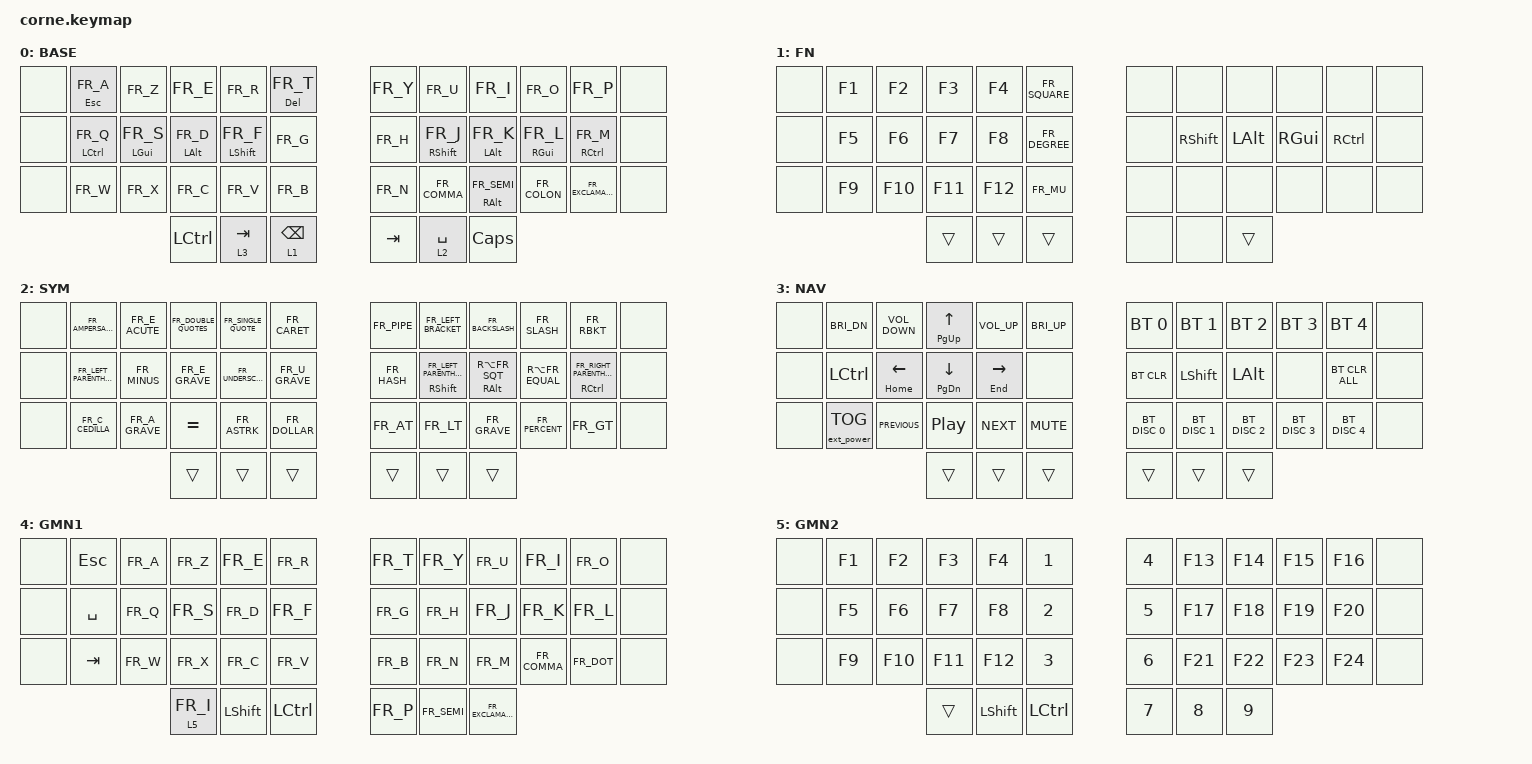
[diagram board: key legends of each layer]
/*
 * Copyright (c) 2020 The ZMK Contributors
 *
 * SPDX-License-Identifier: MIT
 */

#include "keys_fr.h"
#include <behaviors.dtsi>
#include <dt-bindings/zmk/bt.h>
#include <dt-bindings/zmk/ext_power.h>
#include <dt-bindings/zmk/keys.h>

&mt { flavor = "tap-preferred"; };

/ {
    combos {
        compatible = "zmk,combos";

        Entrer {
            bindings = <&kp ENTER>;
            key-positions = <38 39>;
        };

        Entrer2 {
            bindings = <&kp ENTER>;
            key-positions = <16 38>;
        };

        Gaming_Layer {
            bindings = <&tog 4>;
            key-positions = <38 37 36>;
        };

        Espace {
            bindings = <&kp FR_SPACE>;
            key-positions = <38 13>;
        };

        EP_Toggle {
            bindings = <&ext_power EP_TOG>;
            key-positions = <41 40 39>;
        };

        Soft_Off_L {
            bindings = <&soft_off>;
            key-positions = <25 26 27 28>;
        };

        reset_r {
            bindings = <&sys_reset>;
            key-positions = <9 10 8 7>;
        };

        reset {
            bindings = <&sys_reset>;
            key-positions = <1 2 3 4>;
        };

        Soft_off_R {
            bindings = <&soft_off>;
            key-positions = <31 32 33 34>;
        };

        ctrl+Win {
            bindings = <&kp LC(LEFT_WIN)>;
            key-positions = <4 2>;
        };
    };

    behaviors {
        bhm: bhm {
            compatible = "zmk,behavior-hold-tap";
            label = "BHM";
            bindings = <&kp>, <&kp>;

            #binding-cells = <2>;
            tapping-term-ms = <200>;
            quick-tap-ms = <0>;
            flavor = "balanced";
        };

        hm: hm {
            compatible = "zmk,behavior-hold-tap";
            label = "HM";
            bindings = <&kp>, <&kp>;

            #binding-cells = <2>;
            tapping-term-ms = <150>;
            quick-tap-ms = <0>;
            flavor = "tap-preferred";
        };
    };

    macros {
        lm_Num: tog_mod {
            compatible = "zmk,behavior-macro-two-param";
            #binding-cells = <2>;
            bindings =
                <&macro_param_1to1>,
                <&macro_press>,
                <&tog MACRO_PLACEHOLDER &macro_param_2to1 &kp MACRO_PLACEHOLDER>,
                <&macro_pause_for_release>,
                <&macro_param_2to1>,
                <&macro_release>,
                <&kp MACRO_PLACEHOLDER &macro_param_1to1>,
                <&macro_release>,
                <&tog MACRO_PLACEHOLDER>;

            label = "TOG_MOD";
        };
    };

    keymap {
        compatible = "zmk,keymap";

        Base {
            // -----------------------------------------------------------------------------------------
            // |  TAB |  Q  |  W  |  E  |  R  |  T  |   |  Y  |  U   |  I  |  O  |  P  | BKSP |
            // | CTRL |  A  |  S  |  D  |  F  |  G  |   |  H  |  J   |  K  |  L  |  ;  |  '   |
            // | SHFT |  Z  |  X  |  C  |  V  |  B  |   |  N  |  M   |  ,  |  .  |  /  | ESC  |
            //                    | GUI | LWR | SPC |   | ENT | RSE  | ALT |

            bindings = <
&none  &mt ESCAPE FR_A  &kp FR_Z           &kp FR_E           &kp FR_R             &mt DEL FR_T       &kp FR_Y  &kp FR_U              &kp FR_I           &kp FR_O            &kp FR_P            &none
&none  &hm LCTRL FR_Q   &mt LEFT_GUI FR_S  &hm LEFT_ALT FR_D  &hm LEFT_SHIFT FR_F  &kp FR_G           &kp FR_H  &hm RIGHT_SHIFT FR_J  &hm LEFT_ALT FR_K  &mt RIGHT_GUI FR_L  &hm RCTRL FR_M      &none
&none  &kp FR_W         &kp FR_X           &kp FR_C           &kp FR_V             &kp FR_B           &kp FR_N  &kp FR_COMMA          &hm RALT FR_SEMI   &kp FR_COLON        &kp FR_EXCLAMATION  &none
                                           &kp LCTRL          &lt 3 TAB            &lt 1 BACKSPACE    &kp TAB   &lt 2 SPACE           &kp CAPSLOCK
            >;

            label = "BASE";
        };

        Functions {
            // -----------------------------------------------------------------------------------------
            // |  TAB |  1  |  2  |  3  |  4  |  5  |   |  6  |  7  |  8  |  9  |  0  | BKSP |
            // | BTCLR| BT1 | BT2 | BT3 | BT4 | BT5 |   | LFT | DWN |  UP | RGT |     |      |
            // | SHFT |     |     |     |     |     |   |     |     |     |     |     |      |
            //                    | GUI |     | SPC |   | ENT |     | ALT |

            bindings = <
&none  &kp F1  &kp F2   &kp F3   &kp F4   &kp FR_SQUARE    &none  &none      &none     &none     &none      &none
&none  &kp F5  &kp F6   &kp F7   &kp F8   &kp FR_DEGREE    &none  &kp RSHFT  &kp LALT  &kp RGUI  &kp RCTRL  &none
&none  &kp F9  &kp F10  &kp F11  &kp F12  &kp FR_MU        &none  &none      &none     &none     &none      &none
                        &trans   &trans   &trans           &none  &none      &trans
            >;

            label = "FN";
        };

        Symbol {
            // -----------------------------------------------------------------------------------------
            // |  TAB |  !  |  @  |  #  |  $  |  %  |   |  ^  |  &  |  *  |  (  |  )  | BKSP |
            // | CTRL |     |     |     |     |     |   |  -  |  =  |  [  |  ]  |  \  |  `   |
            // | SHFT |     |     |     |     |     |   |  _  |  +  |  {  |  }  | "|" |  ~   |
            //                    | GUI |     | SPC |   | ENT |     | ALT |

            bindings = <
&none  &kp FR_AMPERSAND         &kp FR_E_ACUTE  &kp FR_DOUBLE_QUOTES  &kp FR_SINGLE_QUOTE  &kp FR_CARET      &kp FR_PIPE  &kp FR_LEFT_BRACKET                  &kp FR_BACKSLASH          &kp FR_SLASH      &kp FR_RBKT                     &none
&none  &kp FR_LEFT_PARENTHESIS  &kp FR_MINUS    &kp FR_E_GRAVE        &kp FR_UNDERSCORE    &kp FR_U_GRAVE    &kp FR_HASH  &mt RIGHT_SHIFT FR_LEFT_PARENTHESIS  &mt RIGHT_ALT RA(FR_SQT)  &kp RA(FR_EQUAL)  &mt RCTRL FR_RIGHT_PARENTHESIS  &none
&none  &kp FR_C_CEDILLA         &kp FR_A_GRAVE  &kp EQUAL             &kp FR_ASTRK         &kp FR_DOLLAR     &kp FR_AT    &kp FR_LT                            &kp FR_GRAVE              &kp FR_PERCENT    &kp FR_GT                       &none
                                                &trans                &trans               &trans            &trans       &trans                               &trans
            >;

            label = "SYM";
        };

        Navigation {
            bindings = <
&none  &kp C_BRI_DN       &kp C_VOLUME_DOWN  &mt PAGE_UP UP            &kp C_VOLUME_UP  &kp C_BRI_UP    &bt BT_SEL 0   &bt BT_SEL 1    &bt BT_SEL 2   &bt BT_SEL 3   &bt BT_SEL 4    &none
&none  &kp LCTRL          &mt HOME LEFT      &mt PAGE_DOWN DOWN_ARROW  &mt END RIGHT    &none           &bt BT_CLR     &kp LEFT_SHIFT  &kp LEFT_ALT   &none          &bt BT_CLR_ALL  &none
&none  &ext_power EP_TOG  &kp C_PREVIOUS     &kp C_PLAY_PAUSE          &kp C_NEXT       &kp C_MUTE      &bt BT_DISC 0  &bt BT_DISC 1   &bt BT_DISC 2  &bt BT_DISC 3  &bt BT_DISC 4   &none
                                             &trans                    &trans           &trans          &trans         &trans          &trans
            >;

            label = "NAV";
        };

        Gaming1 {
            bindings = <
&none  &kp ESC    &kp FR_A  &kp FR_Z    &kp FR_E        &kp FR_R     &kp FR_T  &kp FR_Y     &kp FR_U            &kp FR_I      &kp FR_O    &none
&none  &kp SPACE  &kp FR_Q  &kp FR_S    &kp FR_D        &kp FR_F     &kp FR_G  &kp FR_H     &kp FR_J            &kp FR_K      &kp FR_L    &none
&none  &kp TAB    &kp FR_W  &kp FR_X    &kp FR_C        &kp FR_V     &kp FR_B  &kp FR_N     &kp FR_M            &kp FR_COMMA  &kp FR_DOT  &none
                            &lt 5 FR_I  &kp LEFT_SHIFT  &kp LCTRL    &kp FR_P  &kp FR_SEMI  &kp FR_EXCLAMATION
            >;

            label = "GMN1";
        };

        Gaming2 {
            label = "GMN2";
            bindings = <
&none  &kp F1  &kp F2   &kp F3   &kp F4          &kp N1       &kp N4  &kp F13  &kp F14  &kp F15  &kp F16  &none
&none  &kp F5  &kp F6   &kp F7   &kp F8          &kp N2       &kp N5  &kp F17  &kp F18  &kp F19  &kp F20  &none
&none  &kp F9  &kp F10  &kp F11  &kp F12         &kp N3       &kp N6  &kp F21  &kp F22  &kp F23  &kp F24  &none
                        &trans   &kp LEFT_SHIFT  &kp LCTRL    &kp N7  &kp N8   &kp N9
            >;
        };
    };
};
